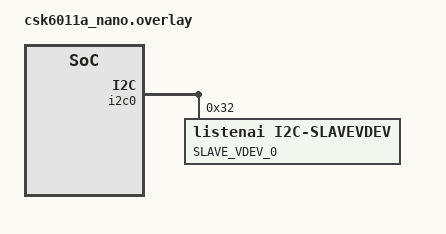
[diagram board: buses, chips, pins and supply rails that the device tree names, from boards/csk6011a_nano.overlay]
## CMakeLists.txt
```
# SPDX-License-Identifier: Apache-2.0

cmake_minimum_required(VERSION 3.20.0)

set(SUPPORT_BOARDS csk6012_nano csk6011a_nano)
if(NOT ${BOARD} IN_LIST SUPPORT_BOARDS)
    message("Please choose one of the following boards:")
    foreach(item ${SUPPORT_BOARDS})
        message(STATUS ${item})
    endforeach()
    message(FATAL_ERROR "\nThe project does not support the ${BOARD}")
endif()

find_package(Zephyr REQUIRED HINTS $ENV{ZEPHYR_BASE})
project(infrared)

target_sources(app PRIVATE src/main.c)
```

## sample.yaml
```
tests:
  sample.board.csk6.driver.infrared:
    platform_allow: csk6011a_nano
    tags: csk6
    harness: console
    timeout: 10
    harness_config:
      type: one_line
      regex:
        - "IR Sample Start"
```

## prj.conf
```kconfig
CONFIG_LOG=y

CONFIG_STDOUT_CONSOLE=y
CONFIG_PRINTK=y

CONFIG_INFRARED=y
CONFIG_INFRARED_CSK6=y
```

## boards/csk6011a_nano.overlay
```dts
/*
 * Copyright (c) 2023 Anhui(Shenzhen) Listenai Co., Ltd.
 *
 * SPDX-License-Identifier: Apache-2.0
 */
 &pinctrl {
	/* I2C alternate function */
	pinctrl_i2c0_scl_default: i2c0_scl_default{
		pinctrls = <I2C0_SCL_GPIOA_10>;
	};

	pinctrl_i2c0_sda_default: i2c0_sda_default{
		pinctrls = <I2C0_SDA_GPIOA_11>;
	};
};

&i2c0 {
	status = "okay";
	pinctrl-0 = <&pinctrl_i2c0_scl_default &pinctrl_i2c0_sda_default>;
	pinctrl-names = "default";

	i2cslavevdev0: i2cslavevdev@32 {
		compatible = "listenai,i2c-slavevdev";
		reg = <0x32>;
		label = "SLAVE_VDEV_0";
		size = <256>;
	};
};
```

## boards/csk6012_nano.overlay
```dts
/*
 * Copyright (c) 2023 Anhui(Shenzhen) Listenai Co., Ltd.
 *
 * SPDX-License-Identifier: Apache-2.0
 */
&pinctrl {
	/* I2C alternate function */
	pinctrl_ir0_data_in_default: ir0_data_in_default{
		pinctrls = <IR_DATIN_GPIOB_10>;
	};
	pinctrl_ir0_data_out_default: ir0_data_out_default{
		pinctrls = <IR_DATOUT_GPIOB_11>;
	};
};

&ir0 {
	status = "okay";
	pinctrl-names = "default";
	pinctrl-0 = <&pinctrl_ir0_data_in_default &pinctrl_ir0_data_out_default>;
};
```

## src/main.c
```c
/*
 * Copyright (c) 2023 Anhui(Shenzhen) Listenai Co., Ltd.
 *
 * SPDX-License-Identifier: Apache-2.0
 */

#include <device.h>
#include <zephyr.h>

#include <zephyr/device.h>
#include <infrared.h>
#include <zephyr/sys/printk.h>

#include <zephyr/logging/log.h>
LOG_MODULE_REGISTER(Infrared, LOG_LEVEL_INF);

#if DT_NODE_HAS_STATUS(DT_NODELABEL(ir0), okay)
#define IR0_DEV_NAME DT_NODELABEL(ir0)
#else
#error "can't find IR0 device"
#endif


void main(void)
{
	const struct device *ir_dev;
	ir_config_t ir_config;
	ir_data_t ir_data;
	int ret;

	ir_dev = DEVICE_DT_GET(IR0_DEV_NAME);
	if (ir_dev == NULL) {
		LOG_ERR("Failed to get infrared device");
		return;
	}

	LOG_INF("IR Sample Start");

	ir_config.protocol = IR_PROTOCOL_NEC;
	ir_config.freq = IR_PROTOCOL_FREQ_DEFAULT;
	ir_config.timeout = 100;
	ret = infrared_configure(ir_dev, &ir_config);
	if (ret != 0) {
		LOG_ERR("Failed to configure infrared device, error code %d\n", ret);
		return;
	}

	LOG_INF("1.IR Send");
	ir_data.addr = 0x12ED;
	ir_data.cmd = 0x34CB;
	ret = infrared_send(ir_dev, &ir_data);
	if (ret != 0) {
		LOG_ERR("Failed to send infrared signal, error code %d\n", ret);
	}

	LOG_INF("2.IR Send");
	k_sleep(K_MSEC(100));

	ir_data.addr = 0x56A9;
	ir_data.cmd = 0x7887;
	ret = infrared_send(ir_dev, &ir_data);
	if (ret != 0) {
		LOG_ERR("Failed to send infrared signal, error code %d\n", ret);
	}

	// The delay needed to switch from sending to receiving on the IR module is necessary (IR signal transmission takes time).
	k_sleep(K_MSEC(100));

	LOG_INF("3.IR Receive, Blocking Receive");
	ret = infrared_recv(ir_dev, &ir_data);
	if (ret == 0) {
		LOG_INF("Received IR signal with address 0x%02X and command 0x%02X", ir_data.addr,
		ir_data.cmd);
	}

	while (1) {
		LOG_DBG("4.IR Receive, Timeout Receive");
		ret = infrared_recv_timeout(ir_dev, &ir_data, K_MSEC(3000));
		if (ret == 0) {
			LOG_INF("Received IR signal with address 0x%02X and command 0x%02X", ir_data.addr,
				ir_data.cmd);
		}
	}
}
```
